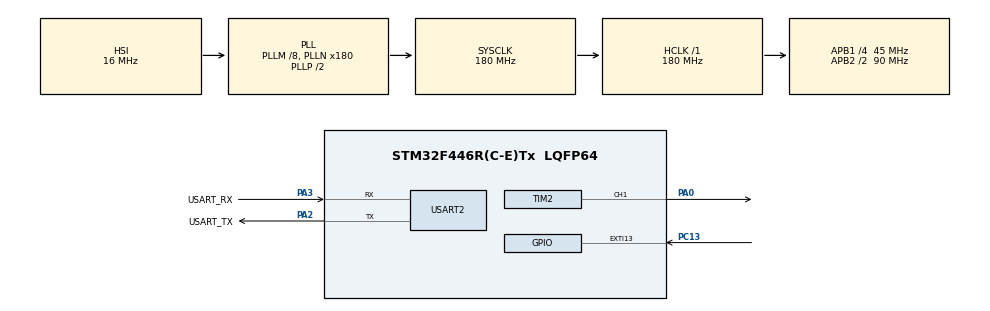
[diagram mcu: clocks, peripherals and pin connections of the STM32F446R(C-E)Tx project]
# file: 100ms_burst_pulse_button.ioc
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Mcu.Family=STM32F4
Mcu.Name=STM32F446R(C-E)Tx
Mcu.Package=LQFP64
NVIC.PriorityGroup=NVIC_PRIORITYGROUP_0
NVIC.TIM2_IRQn=true\:0\:0\:false\:false\:true\:true\:true\:true
PA0-WKUP.Signal=S_TIM2_CH1_ETR
PA13.GPIO_Label=TMS
PA13.Mode=Serial_Wire
PA13.Signal=SYS_JTMS-SWDIO
PA14.GPIO_Label=TCK
PA14.Mode=Serial_Wire
PA14.Signal=SYS_JTCK-SWCLK
PA2.GPIO_Label=USART_TX
PA2.Mode=Asynchronous
PA2.Signal=USART2_TX
PA3.GPIO_Label=USART_RX
PA3.Mode=Asynchronous
PA3.Signal=USART2_RX
PB3.GPIO_Label=SWO
PB3.Signal=SYS_JTDO-SWO
PC13.Signal=GPXTI13
PC14-OSC32_IN.Mode=LSE-External-Oscillator
PC14-OSC32_IN.Signal=RCC_OSC32_IN
PC15-OSC32_OUT.Mode=LSE-External-Oscillator
PC15-OSC32_OUT.Signal=RCC_OSC32_OUT
PH0-OSC_IN.Mode=HSE-External-Oscillator
PH0-OSC_IN.Signal=RCC_OSC_IN
PH1-OSC_OUT.Mode=HSE-External-Oscillator
PH1-OSC_OUT.Signal=RCC_OSC_OUT
ProjectManager.HeapSize=0x200
ProjectManager.StackSize=0x400
ProjectManager.TargetToolchain=STM32CubeIDE
RCC.48MHZClocksFreq_Value=84000000
RCC.AHBFreq_Value=180000000
RCC.APB1CLKDivider=RCC_HCLK_DIV4
RCC.APB1Freq_Value=45000000
RCC.APB1TimFreq_Value=90000000
RCC.APB2CLKDivider=RCC_HCLK_DIV2
RCC.APB2Freq_Value=90000000
RCC.APB2TimFreq_Value=180000000
RCC.CortexFreq_Value=180000000
RCC.FLatency-AdvancedSettings=FLASH_LATENCY_5
RCC.HCLKFreq_Value=180000000
RCC.HSE_VALUE=8000000
RCC.HSI_VALUE=16000000
RCC.PLLM=8
RCC.PLLN=180
RCC.SYSCLKFreq_VALUE=180000000
RCC.SYSCLKSource=RCC_SYSCLKSOURCE_PLLCLK
RCC.USBFreq_Value=180000000
RCC.VCOOutputFreq_Value=360000000
SH.S_TIM2_CH1_ETR.0=TIM2_CH1,PWM Generation1 CH1
TIM2.Channel-PWM\ Generation1\ CH1=TIM_CHANNEL_1
TIM2.OCPolarity_1=TIM_OCPOLARITY_LOW
TIM2.Period=10069
TIM2.Prescaler=89
TIM2.Pulse-PWM\ Generation1\ CH1=70
USART2.VirtualMode=VM_ASYNC
VP_TIM2_VS_ClockSourceINT.Mode=Internal
board=NUCLEO-F446RE

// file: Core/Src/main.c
/* USER CODE BEGIN Header */
/**
  ******************************************************************************
  * @file           : main.c
  * @brief          : Main program body
  ******************************************************************************
  * @attention
  *
  * Copyright (c) 2026 STMicroelectronics.
  * All rights reserved.git status
  *
  * This software is licensed under terms that can be found in the LICENSE file
  * in the root directory of this software component.
  * If no LICENSE file comes with this software, it is provided AS-IS.
  *
  ******************************************************************************
  */
/* USER CODE END Header */

#include "main.h"

TIM_HandleTypeDef htim2;
UART_HandleTypeDef huart2;

/* USER CODE BEGIN PV */
volatile uint8_t pulse_count = 0U;
volatile uint8_t pwm_enabled = 0U;
static uint32_t last_button_tick = 0U;
/* USER CODE END PV */

void SystemClock_Config(void);
static void MX_GPIO_Init(void);
static void MX_TIM2_Init(void);
static void MX_USART2_UART_Init(void);

/* USER CODE BEGIN PFP */
static void Start_PWM(void);
static void Stop_PWM(void);
/* USER CODE END PFP */

/* USER CODE BEGIN 0 */

static void Start_PWM(void)
{
  pulse_count = 0U;

  __HAL_TIM_SET_AUTORELOAD(&htim2, 10069U);
  __HAL_TIM_SET_COMPARE(&htim2, TIM_CHANNEL_1, 70U);
  __HAL_TIM_SET_COUNTER(&htim2, 0U);
  __HAL_TIM_CLEAR_FLAG(&htim2, TIM_FLAG_UPDATE);
  __HAL_TIM_DISABLE_IT(&htim2, TIM_IT_UPDATE);
/* Start PWM generation on TIM2 Channel 1 for the A-Scan pulse output. */

  if (HAL_TIM_PWM_Start(&htim2, TIM_CHANNEL_1) != HAL_OK)
  {
    Error_Handler();
  }

  pwm_enabled = 1U;
  __HAL_TIM_ENABLE_IT(&htim2, TIM_IT_UPDATE);
}

static void Stop_PWM(void)
{
  pwm_enabled = 0U;
  __HAL_TIM_DISABLE_IT(&htim2, TIM_IT_UPDATE);

  if (HAL_TIM_PWM_Stop(&htim2, TIM_CHANNEL_1) != HAL_OK)
  {
    Error_Handler();
  }

  __HAL_TIM_SET_AUTORELOAD(&htim2, 10069U);
  __HAL_TIM_SET_COMPARE(&htim2, TIM_CHANNEL_1, 70U);
  __HAL_TIM_SET_COUNTER(&htim2, 0U);
  __HAL_TIM_CLEAR_FLAG(&htim2, TIM_FLAG_UPDATE);

  pulse_count = 0U;
}

void HAL_GPIO_EXTI_Callback(uint16_t GPIO_Pin)
{
  uint32_t current_tick;

  if (GPIO_Pin != GPIO_PIN_13)
  {
    return;
  }

  current_tick = HAL_GetTick();

  if ((current_tick - last_button_tick) < 200U)
  {
    return;
  }

  last_button_tick = current_tick;

  if (pwm_enabled == 0U)
  {
    Start_PWM();
  }
  else
  {
    Stop_PWM();
  }
}

/* USER CODE END 0 */

int main(void)
{
  HAL_Init();

  SystemClock_Config();

  MX_GPIO_Init();
  MX_TIM2_Init();
  MX_USART2_UART_Init();

  /* USER CODE BEGIN 2 */
  pwm_enabled = 0U;
  pulse_count = 0U;

  __HAL_TIM_SET_AUTORELOAD(&htim2, 10069U);
  __HAL_TIM_SET_COMPARE(&htim2, TIM_CHANNEL_1, 70U);
  __HAL_TIM_SET_COUNTER(&htim2, 0U);
  __HAL_TIM_CLEAR_FLAG(&htim2, TIM_FLAG_UPDATE);
  __HAL_TIM_DISABLE_IT(&htim2, TIM_IT_UPDATE);
  /* USER CODE END 2 */

  /* Infinite loop */
  while (1)
  {

  }
}

void SystemClock_Config(void)
{
  RCC_OscInitTypeDef RCC_OscInitStruct = {0};
  RCC_ClkInitTypeDef RCC_ClkInitStruct = {0};

  /** Configure the main internal regulator output voltage */
  __HAL_RCC_PWR_CLK_ENABLE();
  __HAL_PWR_VOLTAGESCALING_CONFIG(PWR_REGULATOR_VOLTAGE_SCALE1);

  /** Initialize the RCC Oscillators */
  RCC_OscInitStruct.OscillatorType = RCC_OSCILLATORTYPE_HSI;
  RCC_OscInitStruct.HSIState = RCC_HSI_ON;
  RCC_OscInitStruct.HSICalibrationValue = RCC_HSICALIBRATION_DEFAULT;
  RCC_OscInitStruct.PLL.PLLState = RCC_PLL_ON;
  RCC_OscInitStruct.PLL.PLLSource = RCC_PLLSOURCE_HSI;
  RCC_OscInitStruct.PLL.PLLM = 8;
  RCC_OscInitStruct.PLL.PLLN = 180;
  RCC_OscInitStruct.PLL.PLLP = RCC_PLLP_DIV2;
  RCC_OscInitStruct.PLL.PLLQ = 2;
  RCC_OscInitStruct.PLL.PLLR = 2;

  if (HAL_RCC_OscConfig(&RCC_OscInitStruct) != HAL_OK)
  {
    Error_Handler();
  }

  /** Activate Over-Drive mode */
  if (HAL_PWREx_EnableOverDrive() != HAL_OK)
  {
    Error_Handler();
  }

  /** Initialize CPU, AHB and APB bus clocks */
  RCC_ClkInitStruct.ClockType = RCC_CLOCKTYPE_HCLK |
                                RCC_CLOCKTYPE_SYSCLK |
                                RCC_CLOCKTYPE_PCLK1 |
                                RCC_CLOCKTYPE_PCLK2;

  RCC_ClkInitStruct.SYSCLKSource = RCC_SYSCLKSOURCE_PLLCLK;
  RCC_ClkInitStruct.AHBCLKDivider = RCC_SYSCLK_DIV1;
  RCC_ClkInitStruct.APB1CLKDivider = RCC_HCLK_DIV4;
  RCC_ClkInitStruct.APB2CLKDivider = RCC_HCLK_DIV2;

  if (HAL_RCC_ClockConfig(&RCC_ClkInitStruct, FLASH_LATENCY_5) != HAL_OK)
  {
    Error_Handler();
  }
}

static void MX_TIM2_Init(void)
{
  TIM_ClockConfigTypeDef sClockSourceConfig = {0};
  TIM_MasterConfigTypeDef sMasterConfig = {0};
  TIM_OC_InitTypeDef sConfigOC = {0};

  htim2.Instance = TIM2;
  htim2.Init.Prescaler = 89;
  htim2.Init.CounterMode = TIM_COUNTERMODE_UP;
  htim2.Init.Period = 10069;
  htim2.Init.ClockDivision = TIM_CLOCKDIVISION_DIV1;
  htim2.Init.AutoReloadPreload = TIM_AUTORELOAD_PRELOAD_DISABLE;

  if (HAL_TIM_Base_Init(&htim2) != HAL_OK)
  {
    Error_Handler();
  }

  sClockSourceConfig.ClockSource = TIM_CLOCKSOURCE_INTERNAL;
  if (HAL_TIM_ConfigClockSource(&htim2, &sClockSourceConfig) != HAL_OK)
  {
    Error_Handler();
  }

  if (HAL_TIM_PWM_Init(&htim2) != HAL_OK)
  {
    Error_Handler();
  }

  sMasterConfig.MasterOutputTrigger = TIM_TRGO_RESET;
  sMasterConfig.MasterSlaveMode = TIM_MASTERSLAVEMODE_DISABLE;

  if (HAL_TIMEx_MasterConfigSynchronization(&htim2, &sMasterConfig) != HAL_OK)
  {
    Error_Handler();
  }

  sConfigOC.OCMode = TIM_OCMODE_PWM1;
  sConfigOC.Pulse = 70;
  sConfigOC.OCPolarity = TIM_OCPOLARITY_LOW;
  sConfigOC.OCFastMode = TIM_OCFAST_DISABLE;

  if (HAL_TIM_PWM_ConfigChannel(&htim2, &sConfigOC, TIM_CHANNEL_1) != HAL_OK)
  {
    Error_Handler();
  }

  HAL_TIM_MspPostInit(&htim2);
}

static void MX_USART2_UART_Init(void)
{
  huart2.Instance = USART2;
  huart2.Init.BaudRate = 115200;
  huart2.Init.WordLength = UART_WORDLENGTH_8B;
  huart2.Init.StopBits = UART_STOPBITS_1;
  huart2.Init.Parity = UART_PARITY_NONE;
  huart2.Init.Mode = UART_MODE_TX_RX;
  huart2.Init.HwFlowCtl = UART_HWCONTROL_NONE;
  huart2.Init.OverSampling = UART_OVERSAMPLING_16;

  if (HAL_UART_Init(&huart2) != HAL_OK)
  {
    Error_Handler();
  }
}

static void MX_GPIO_Init(void)
{
  GPIO_InitTypeDef GPIO_InitStruct = {0};

  __HAL_RCC_GPIOC_CLK_ENABLE();
  __HAL_RCC_GPIOH_CLK_ENABLE();
  __HAL_RCC_GPIOA_CLK_ENABLE();
  __HAL_RCC_GPIOB_CLK_ENABLE();

  GPIO_InitStruct.Pin = GPIO_PIN_13;
  GPIO_InitStruct.Mode = GPIO_MODE_IT_RISING;
  GPIO_InitStruct.Pull = GPIO_NOPULL;
  HAL_GPIO_Init(GPIOC, &GPIO_InitStruct);

  HAL_NVIC_SetPriority(EXTI15_10_IRQn, 0, 0);
  HAL_NVIC_EnableIRQ(EXTI15_10_IRQn);
}

/* USER CODE BEGIN 4 */

void HAL_TIM_PeriodElapsedCallback(TIM_HandleTypeDef *htim)
{
  if (htim->Instance != TIM2)
  {
    return;
  }

  if (pwm_enabled == 0U)
  {
    return;
  }

  if (pulse_count < 4U)
  {
    pulse_count++;

    if (pulse_count == 4U)
    {
      __HAL_TIM_SET_COMPARE(&htim2, TIM_CHANNEL_1, 0U);
      __HAL_TIM_SET_AUTORELOAD(&htim2, 557999U);
      __HAL_TIM_SET_COUNTER(&htim2, 0U);
    }
  }
  else
  {
    pulse_count = 0U;

    __HAL_TIM_SET_AUTORELOAD(&htim2, 10069U);
    __HAL_TIM_SET_COMPARE(&htim2, TIM_CHANNEL_1, 70U);
    __HAL_TIM_SET_COUNTER(&htim2, 0U);
  }
}

/* USER CODE END 4 */

void Error_Handler(void)
{
  __disable_irq();
  while (1)
  {
  }
}

#ifdef USE_FULL_ASSERT
/**
  * @brief Reports the name of the source file and the source line number
  *        where the assert_param error has occurred.
  * @param file: pointer to the source file name
  * @param line: assert_param error line number
  * @retval None
  */
void assert_failed(uint8_t *file, uint32_t line)
{
  /* USER CODE BEGIN 6 */
  /* User can add implementation to report file name and line number */
  /* USER CODE END 6 */
}
#endif /* USE_FULL_ASSERT */
